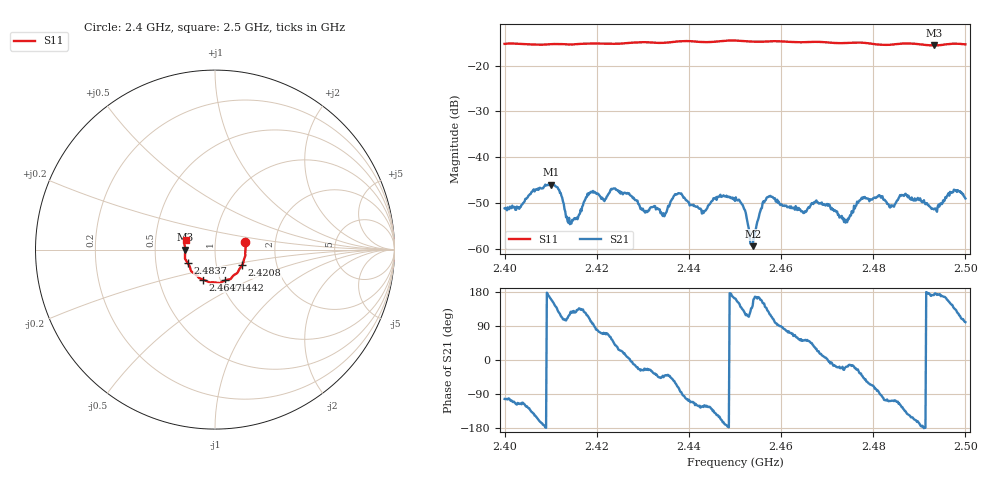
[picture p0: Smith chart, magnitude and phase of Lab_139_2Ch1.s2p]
# Hz S RI R 50
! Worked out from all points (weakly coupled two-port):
!   601 points, 2.4 GHz to 2.5 GHz, reference 50 ohm
!   highest |S21| = -45.95 dB at 2.41 GHz (marker M1); lowest = -59.4 dB at 2.4538 GHz (marker M2)
!   lowest |S11| = -15.6 dB at 2.4932 GHz (marker M3), VSWR 1.40, Z = 35.8 - j0.084 ohm
!   |S11| at or under -10 dB: start of sweep to end of sweep
!   S12 and S22 are empty: the file has one direction only
!   S11 on the Smith chart (normalised r, x): 2.4 GHz: 1.40, +0.12; 2.4208 GHz: 1.33, -0.24; 2.4442 GHz: 1.05, -0.37; 2.4647 GHz: 0.83, -0.29; 2.4837 GHz: 0.73, -0.11; 2.5 GHz: 0.72, +0.08
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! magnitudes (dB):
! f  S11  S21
! 2.4 GHz  -15.2  -51.1
! 2.41 GHz  -15.3  -45.9
! 2.4118 GHz  -15.3  -47.1
! 2.414 GHz  -15.4  -53.2
! 2.4167 GHz  -15.2  -51.8
! 2.4208 GHz  -15.2  -48.7
! 2.4333 GHz  -15.0  -51.3
! 2.4378 GHz  -14.7  -47.8
! 2.4442 GHz  -14.9  -50.5
! 2.45 GHz  -14.5  -49.5
! 2.4518 GHz  -14.6  -50.9
! 2.4538 GHz  -14.8  -59.4
! 2.4573 GHz  -14.7  -48.5
! 2.4647 GHz  -14.9  -51.8
! 2.4667 GHz  -14.8  -50.0
! 2.4742 GHz  -15.1  -53.8
! 2.4777 GHz  -15.0  -49.1
! 2.4833 GHz  -15.5  -50.3
! 2.4837 GHz  -15.4  -51.0
! 2.4868 GHz  -15.2  -48.1
! 2.4932 GHz  -15.6  -51.4
! 2.5 GHz  -15.3  -49.0
